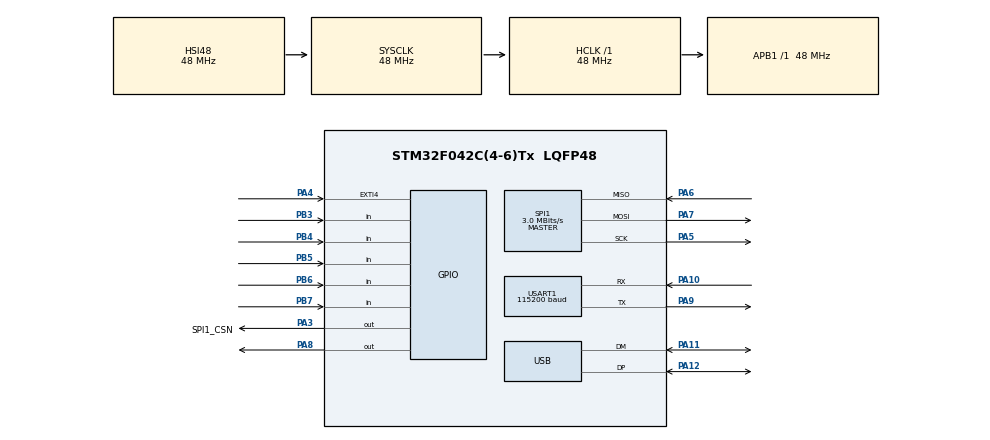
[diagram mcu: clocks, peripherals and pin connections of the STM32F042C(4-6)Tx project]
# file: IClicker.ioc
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Mcu.Family=STM32F0
Mcu.Name=STM32F042C(4-6)Tx
Mcu.Package=LQFP48
PA10.Mode=Asynchronous
PA10.Signal=USART1_RX
PA11.Mode=Device
PA11.Signal=USB_DM
PA12.Mode=Device
PA12.Signal=USB_DP
PA3.GPIO_Label=SPI1_CSN
PA3.PinState=GPIO_PIN_SET
PA3.Signal=GPIO_Output
PA4.Signal=GPXTI4
PA5.Mode=Full_Duplex_Master
PA5.Signal=SPI1_SCK
PA6.Mode=Full_Duplex_Master
PA6.Signal=SPI1_MISO
PA7.Mode=Full_Duplex_Master
PA7.Signal=SPI1_MOSI
PA8.Signal=GPIO_Output
PA9.Mode=Asynchronous
PA9.Signal=USART1_TX
PB3.Signal=GPIO_Input
PB4.Signal=GPIO_Input
PB5.Signal=GPIO_Input
PB6.Signal=GPIO_Input
PB7.Signal=GPIO_Input
ProjectManager.HeapSize=0x200
ProjectManager.StackSize=0x400
ProjectManager.TargetToolchain=CMake
RCC.AHBFreq_Value=48000000
RCC.APB1Freq_Value=48000000
RCC.APB1TimFreq_Value=48000000
RCC.HCLKFreq_Value=48000000
RCC.SYSCLKFreq_VALUE=48000000
RCC.SYSCLKSource=RCC_SYSCLKSOURCE_HSI48
SPI1.BaudRatePrescaler=SPI_BAUDRATEPRESCALER_16
SPI1.CalculateBaudRate=3.0 MBits/s
SPI1.DataSize=SPI_DATASIZE_8BIT
SPI1.Direction=SPI_DIRECTION_2LINES
SPI1.Mode=SPI_MODE_MASTER
SPI1.VirtualType=VM_MASTER
TIM2.Prescaler=47
USART1.BaudRate=115200
USART1.VirtualMode-Asynchronous=VM_ASYNC
VP_TIM2_VS_ClockSourceINT.Mode=Internal
board=custom

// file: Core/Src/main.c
/* USER CODE BEGIN Header */
/**
  ******************************************************************************
  * @file           : main.c
  * @brief          : Main program body
  ******************************************************************************
  * @attention
  *
  * Copyright (c) 2026 STMicroelectronics.
  * All rights reserved.
  *
  * This software is licensed under terms that can be found in the LICENSE file
  * in the root directory of this software component.
  * If no LICENSE file comes with this software, it is provided AS-IS.
  *
  ******************************************************************************
  */
/* USER CODE END Header */
#include "main.h"

/* USER CODE BEGIN Includes */
#include "project.h"
#include <stdint.h>
#include <stdbool.h>
#include <stdio.h>
/* USER CODE END Includes */

SPI_HandleTypeDef hspi1;

TIM_HandleTypeDef htim2;

UART_HandleTypeDef huart1;

PCD_HandleTypeDef hpcd_USB_FS;

void SystemClock_Config(void);
static void MX_GPIO_Init(void);
static void MX_USART1_UART_Init(void);
static void MX_USB_PCD_Init(void);
static void MX_SPI1_Init(void);
static void MX_TIM2_Init(void);

int main(void)
{

  /* MCU Configuration--------------------------------------------------------*/

  /* Reset of all peripherals, Initializes the Flash interface and the Systick. */
  HAL_Init();

  /* Configure the system clock */
  SystemClock_Config();

  /* Initialize all configured peripherals */
  MX_GPIO_Init();
  MX_USART1_UART_Init();
  MX_USB_PCD_Init();
  MX_SPI1_Init();
  MX_TIM2_Init();
  /* USER CODE BEGIN 2 */
  HAL_TIM_Base_Start(&htim2);
  uint8_t addr = 0x30;
  bool display_status = true;
  char msg[64];
  // CC2500_Reset();
  /* USER CODE END 2 */

  /* Infinite loop */
  /* USER CODE BEGIN WHILE */
  uint8_t tx = 0x34;
  uint8_t rx;
  //void UART_Display(char* msg, int size){

  while (1)
  {

    Blink_Test();
    uint8_t reg_val = CC2500_ReadReg(addr, display_status);
    int size_of_message = snprintf(msg,sizeof(msg),"Reg 0x30: 0x%X \n\r",reg_val);
    UART_Display(msg, size_of_message);
    HAL_Delay(1000);

    /* USER CODE END WHILE */

  }
}

void SystemClock_Config(void)
{
  RCC_OscInitTypeDef RCC_OscInitStruct = {0};
  RCC_ClkInitTypeDef RCC_ClkInitStruct = {0};
  RCC_PeriphCLKInitTypeDef PeriphClkInit = {0};

  /** Initializes the RCC Oscillators according to the specified parameters
  * in the RCC_OscInitTypeDef structure.
  */
  RCC_OscInitStruct.OscillatorType = RCC_OSCILLATORTYPE_HSI48;
  RCC_OscInitStruct.HSI48State = RCC_HSI48_ON;
  RCC_OscInitStruct.PLL.PLLState = RCC_PLL_NONE;
  if (HAL_RCC_OscConfig(&RCC_OscInitStruct) != HAL_OK)
  {
    Error_Handler();
  }

  /** Initializes the CPU, AHB and APB buses clocks
  */
  RCC_ClkInitStruct.ClockType = RCC_CLOCKTYPE_HCLK|RCC_CLOCKTYPE_SYSCLK
                              |RCC_CLOCKTYPE_PCLK1;
  RCC_ClkInitStruct.SYSCLKSource = RCC_SYSCLKSOURCE_HSI48;
  RCC_ClkInitStruct.AHBCLKDivider = RCC_SYSCLK_DIV1;
  RCC_ClkInitStruct.APB1CLKDivider = RCC_HCLK_DIV1;

  if (HAL_RCC_ClockConfig(&RCC_ClkInitStruct, FLASH_LATENCY_1) != HAL_OK)
  {
    Error_Handler();
  }
  PeriphClkInit.PeriphClockSelection = RCC_PERIPHCLK_USB|RCC_PERIPHCLK_USART1;
  PeriphClkInit.Usart1ClockSelection = RCC_USART1CLKSOURCE_PCLK1;
  PeriphClkInit.UsbClockSelection = RCC_USBCLKSOURCE_HSI48;

  if (HAL_RCCEx_PeriphCLKConfig(&PeriphClkInit) != HAL_OK)
  {
    Error_Handler();
  }
}

static void MX_SPI1_Init(void)
{

  /* SPI1 parameter configuration*/
  hspi1.Instance = SPI1;
  hspi1.Init.Mode = SPI_MODE_MASTER;
  hspi1.Init.Direction = SPI_DIRECTION_2LINES;
  hspi1.Init.DataSize = SPI_DATASIZE_8BIT;
  hspi1.Init.CLKPolarity = SPI_POLARITY_LOW;
  hspi1.Init.CLKPhase = SPI_PHASE_1EDGE;
  hspi1.Init.NSS = SPI_NSS_SOFT;
  hspi1.Init.BaudRatePrescaler = SPI_BAUDRATEPRESCALER_16;
  hspi1.Init.FirstBit = SPI_FIRSTBIT_MSB;
  hspi1.Init.TIMode = SPI_TIMODE_DISABLE;
  hspi1.Init.CRCCalculation = SPI_CRCCALCULATION_DISABLE;
  hspi1.Init.CRCPolynomial = 7;
  hspi1.Init.CRCLength = SPI_CRC_LENGTH_DATASIZE;
  hspi1.Init.NSSPMode = SPI_NSS_PULSE_ENABLE;
  if (HAL_SPI_Init(&hspi1) != HAL_OK)
  {
    Error_Handler();
  }

}

static void MX_TIM2_Init(void)
{

  TIM_ClockConfigTypeDef sClockSourceConfig = {0};
  TIM_MasterConfigTypeDef sMasterConfig = {0};

  htim2.Instance = TIM2;
  htim2.Init.Prescaler = 47;
  htim2.Init.CounterMode = TIM_COUNTERMODE_UP;
  htim2.Init.Period = 4294967295;
  htim2.Init.ClockDivision = TIM_CLOCKDIVISION_DIV1;
  htim2.Init.AutoReloadPreload = TIM_AUTORELOAD_PRELOAD_DISABLE;
  if (HAL_TIM_Base_Init(&htim2) != HAL_OK)
  {
    Error_Handler();
  }
  sClockSourceConfig.ClockSource = TIM_CLOCKSOURCE_INTERNAL;
  if (HAL_TIM_ConfigClockSource(&htim2, &sClockSourceConfig) != HAL_OK)
  {
    Error_Handler();
  }
  sMasterConfig.MasterOutputTrigger = TIM_TRGO_RESET;
  sMasterConfig.MasterSlaveMode = TIM_MASTERSLAVEMODE_DISABLE;
  if (HAL_TIMEx_MasterConfigSynchronization(&htim2, &sMasterConfig) != HAL_OK)
  {
    Error_Handler();
  }

}

static void MX_USART1_UART_Init(void)
{

  huart1.Instance = USART1;
  huart1.Init.BaudRate = 115200;
  huart1.Init.WordLength = UART_WORDLENGTH_8B;
  huart1.Init.StopBits = UART_STOPBITS_1;
  huart1.Init.Parity = UART_PARITY_NONE;
  huart1.Init.Mode = UART_MODE_TX_RX;
  huart1.Init.HwFlowCtl = UART_HWCONTROL_NONE;
  huart1.Init.OverSampling = UART_OVERSAMPLING_16;
  huart1.Init.OneBitSampling = UART_ONE_BIT_SAMPLE_DISABLE;
  huart1.AdvancedInit.AdvFeatureInit = UART_ADVFEATURE_NO_INIT;
  if (HAL_UART_Init(&huart1) != HAL_OK)
  {
    Error_Handler();
  }

}

static void MX_USB_PCD_Init(void)
{

  hpcd_USB_FS.Instance = USB;
  hpcd_USB_FS.Init.dev_endpoints = 8;
  hpcd_USB_FS.Init.speed = PCD_SPEED_FULL;
  hpcd_USB_FS.Init.phy_itface = PCD_PHY_EMBEDDED;
  hpcd_USB_FS.Init.low_power_enable = DISABLE;
  hpcd_USB_FS.Init.lpm_enable = DISABLE;
  hpcd_USB_FS.Init.battery_charging_enable = DISABLE;
  if (HAL_PCD_Init(&hpcd_USB_FS) != HAL_OK)
  {
    Error_Handler();
  }

}

static void MX_GPIO_Init(void)
{
  GPIO_InitTypeDef GPIO_InitStruct = {0};

  /* GPIO Ports Clock Enable */
  __HAL_RCC_GPIOA_CLK_ENABLE();
  __HAL_RCC_GPIOB_CLK_ENABLE();

  /*Configure GPIO pin Output Level */
  HAL_GPIO_WritePin(SPI1_CSN_GPIO_Port, SPI1_CSN_Pin, GPIO_PIN_SET);

  /*Configure GPIO pin Output Level */
  HAL_GPIO_WritePin(GPIOA, GPIO_PIN_8, GPIO_PIN_RESET);

  /*Configure GPIO pins : SPI1_CSN_Pin PA8 */
  GPIO_InitStruct.Pin = SPI1_CSN_Pin|GPIO_PIN_8;
  GPIO_InitStruct.Mode = GPIO_MODE_OUTPUT_PP;
  GPIO_InitStruct.Pull = GPIO_NOPULL;
  GPIO_InitStruct.Speed = GPIO_SPEED_FREQ_LOW;
  HAL_GPIO_Init(GPIOA, &GPIO_InitStruct);

  /*Configure GPIO pin : PA4 */
  GPIO_InitStruct.Pin = GPIO_PIN_4;
  GPIO_InitStruct.Mode = GPIO_MODE_IT_RISING;
  GPIO_InitStruct.Pull = GPIO_NOPULL;
  HAL_GPIO_Init(GPIOA, &GPIO_InitStruct);

  /*Configure GPIO pins : PB3 PB4 PB5 PB6
                           PB7 */
  GPIO_InitStruct.Pin = GPIO_PIN_3|GPIO_PIN_4|GPIO_PIN_5|GPIO_PIN_6
                          |GPIO_PIN_7;
  GPIO_InitStruct.Mode = GPIO_MODE_INPUT;
  GPIO_InitStruct.Pull = GPIO_NOPULL;
  HAL_GPIO_Init(GPIOB, &GPIO_InitStruct);

}

void Error_Handler(void)
{
  __disable_irq();
  while (1)
  {
  }
}
